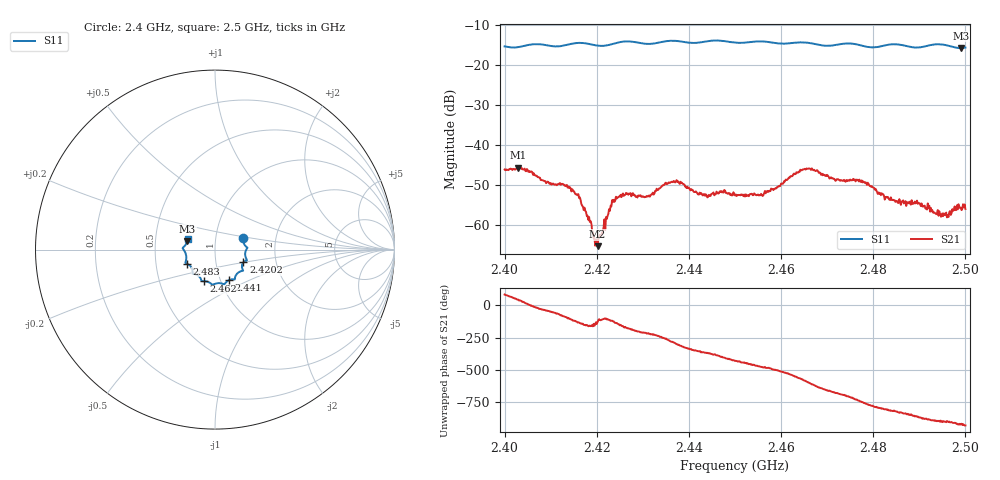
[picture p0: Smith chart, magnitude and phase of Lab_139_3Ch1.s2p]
# Hz S RI R 50
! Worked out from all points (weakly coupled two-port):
!   601 points, 2.4 GHz to 2.5 GHz, reference 50 ohm
!   highest |S21| = -45.72 dB at 2.4028 GHz (marker M1); lowest = -65.3 dB at 2.4202 GHz (marker M2)
!   lowest |S11| = -15.8 dB at 2.499 GHz (marker M3), VSWR 1.39, Z = 36.5 + j3.47 ohm
!   |S11| at or under -10 dB: start of sweep to end of sweep
!   S12 and S22 are empty: the file has one direction only
!   S11 on the Smith chart (normalised r, x): 2.4 GHz: 1.36, +0.18; 2.4202 GHz: 1.36, -0.20; 2.441 GHz: 1.10, -0.39; 2.462 GHz: 0.84, -0.30; 2.483 GHz: 0.72, -0.11; 2.5 GHz: 0.73, +0.09
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2.4e9  0.1573 0.063  0.000459 0.00489  0 0  0 0
2.402833e9  0.163 0.0298  0.00362 0.0037  0 0  0 0
2.413833e9  0.1725 -0.0472  -0.000338 -0.00299  0 0  0 0
2.416667e9  0.1776 -0.0595  -0.0014 -0.00116  0 0  0 0
2.418333e9  0.1711 -0.0622  -0.00117 -0.000456  0 0  0 0
2.419667e9  0.1617 -0.0676  -0.000446 -0.000319  0 0  0 0
2.420167e9  0.1581 -0.0709  -0.000328 -0.00043  0 0  0 0
2.423833e9  0.152 -0.1049  -0.00125 -0.00148  0 0  0 0
2.431e9  0.1268 -0.1304  -0.0018 0.00138  0 0  0 0
2.433333e9  0.1129 -0.1508  -0.00154 0.00226  0 0  0 0
2.437167e9  0.1085 -0.1665  0.00152 0.00311  0 0  0 0
2.441e9  0.0786 -0.1699  0.00252 0.000619  0 0  0 0
2.45e9  0.0285 -0.1868  0.00078 -0.0022  0 0  0 0
2.455667e9  -0.0134 -0.1954  -0.00106 -0.00219  0 0  0 0
2.462e9  -0.0605 -0.1756  -0.00399 -0.000384  0 0  0 0
2.466667e9  -0.0771 -0.1679  -0.00164 0.00478  0 0  0 0
2.478e9  -0.126 -0.1151  0.00274 -0.00204  0 0  0 0
2.483e9  -0.1586 -0.0775  3.97e-05 -0.00219  0 0  0 0
2.483333e9  -0.1606 -0.0766  -9.41e-05 -0.00214  0 0  0 0
2.495167e9  -0.1781 0.0113  -0.00128 -9.84e-05  0 0  0 0
2.499e9  -0.1546 0.0464  -0.00155 0.000509  0 0  0 0
2.5e9  -0.1518 0.0611  -0.00137 0.000786  0 0  0 0
